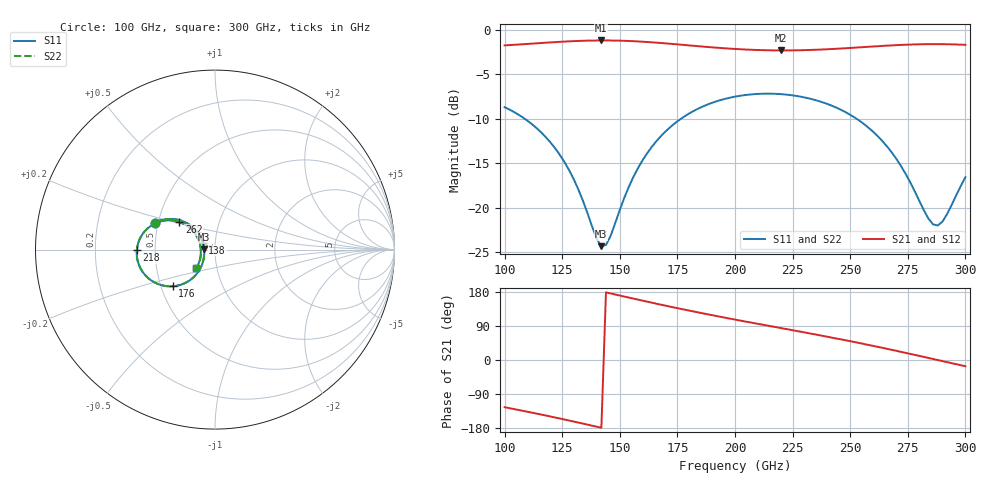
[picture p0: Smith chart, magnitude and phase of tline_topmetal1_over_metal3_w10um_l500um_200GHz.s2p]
#  GHZ S DB R 50
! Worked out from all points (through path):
!   101 points, 100 GHz to 300 GHz, reference 50 ohm
!   highest |S21| = -1.22 dB at 142 GHz (marker M1); lowest = -2.3 dB at 220 GHz (marker M2)
!   group delay of S21, straight-line fit = 3.44 ps
!   lowest |S11| = -24.3 dB at 142 GHz (marker M3), VSWR 1.13, Z = 44.3 + j0.24 ohm
!   |S11| at or under -10 dB: 108.7 GHz to 176.6 GHz (67.96 GHz wide, 47.6 % of centre); 252.7 GHz to end of sweep
!   |S22| runs from -24.3 to -7.2 dB; largest |S21 - S12| = 8.8e-14
!   S11 on the Smith chart (normalised r, x): 100 GHz: 0.48, +0.17; 138 GHz: 0.87, +0.07; 176 GHz: 0.58, -0.26; 218 GHz: 0.39, -0.00; 262 GHz: 0.64, +0.21; 300 GHz: 0.79, -0.17
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100  -8.71 155.9  -1.77 -124.6  -1.77 -124.6  -8.71 155.9
120  -12.70 138.0  -1.43 -149.2  -1.43 -149.2  -12.69 138.1
128  -15.78 134.7  -1.32 -159.7  -1.32 -159.7  -15.77 134.8
134  -19.22 138.7  -1.25 -167.8  -1.25 -167.8  -19.20 138.8
138  -22.13 150.5  -1.23 -173.3  -1.23 -173.3  -22.09 150.6
142  -24.32 177.5  -1.22 -178.8  -1.22 -178.8  -24.26 177.5
146  -23.17 -150.7  -1.22 175.7  -1.22 175.7  -23.12 -150.9
152  -18.85 -130.1  -1.26 167.4  -1.26 167.4  -18.84 -130.3
158  -15.50 -127.0  -1.33 159.2  -1.33 159.2  -15.49 -127.1
168  -11.92 -132.1  -1.50 145.8  -1.50 145.8  -11.91 -132.2
176  -10.11 -139.1  -1.68 135.5  -1.68 135.5  -10.11 -139.1
188  -8.42 -150.6  -1.95 120.7  -1.95 120.7  -8.42 -150.7
200  -7.53 -162.3  -2.17 106.7  -2.17 106.7  -7.53 -162.3
218  -7.22 -179.5  -2.33 86.4  -2.33 86.4  -7.21 -179.5
220  -7.25 178.7  -2.33 84.2  -2.33 84.2  -7.25 178.6
234  -7.85 165.6  -2.27 68.4  -2.27 68.4  -7.85 165.5
250  -9.56 151.3  -2.06 49.6  -2.06 49.6  -9.56 151.2
262  -11.98 142.3  -1.86 34.6  -1.86 34.6  -11.98 142.2
268  -13.78 139.6  -1.77 26.9  -1.77 26.9  -13.79 139.5
286  -21.87 174.3  -1.63 2.6  -1.63 2.6  -21.93 174.2
290  -21.57 -162.0  -1.63 -2.8  -1.63 -2.8  -21.62 -161.9
300  -16.57 -134.9  -1.71 -16.5  -1.71 -16.5  -16.59 -134.8
